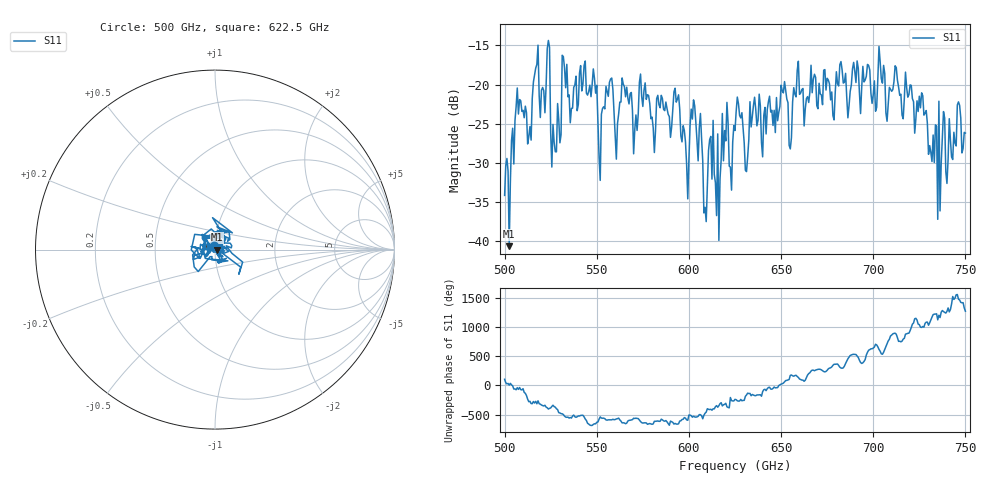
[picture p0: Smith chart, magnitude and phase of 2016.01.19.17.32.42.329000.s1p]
!Created with skrf (http://scikit-rf.org).
# GHz S RI R 50.0
!freq ReS11 ImS11
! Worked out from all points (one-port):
!   401 points, 500 GHz to 750 GHz, reference 50 ohm
!   lowest |S11| = -40.6 dB at 502.5 GHz (marker M1), VSWR 1.02, Z = 50.9 + j0.0447 ohm
!   |S11| at or under -10 dB: start of sweep to end of sweep
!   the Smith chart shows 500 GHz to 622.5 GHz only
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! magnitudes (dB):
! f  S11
! 500 GHz  -34.1
! 502.5 GHz  -40.6
! 506.9 GHz  -20.4
! 513.1 GHz  -26.6
! 516.9 GHz  -17.9
! 523.8 GHz  -14.4
! 526.9 GHz  -27.4
! 531.2 GHz  -16.3
! 548.8 GHz  -19.2
! 551.9 GHz  -32.2
! 556.2 GHz  -21.5
! 562.5 GHz  -22.2
! 593.8 GHz  -21.9
! 598.8 GHz  -30.1
! 602.5 GHz  -22.0
! 608.8 GHz  -35.7
! 611.9 GHz  -26.6
! 615.6 GHz  -26.3
! 619.4 GHz  -25.9
! 623.1 GHz  -33.5
! 625 GHz  -25.9
! 631.2 GHz  -31.1
! 634.4 GHz  -24.1
! 656.2 GHz  -22.2
! 687.5 GHz  -20.9
! 718.8 GHz  -21.6
! 736.2 GHz  -36.1
! 750 GHz  -26.2
